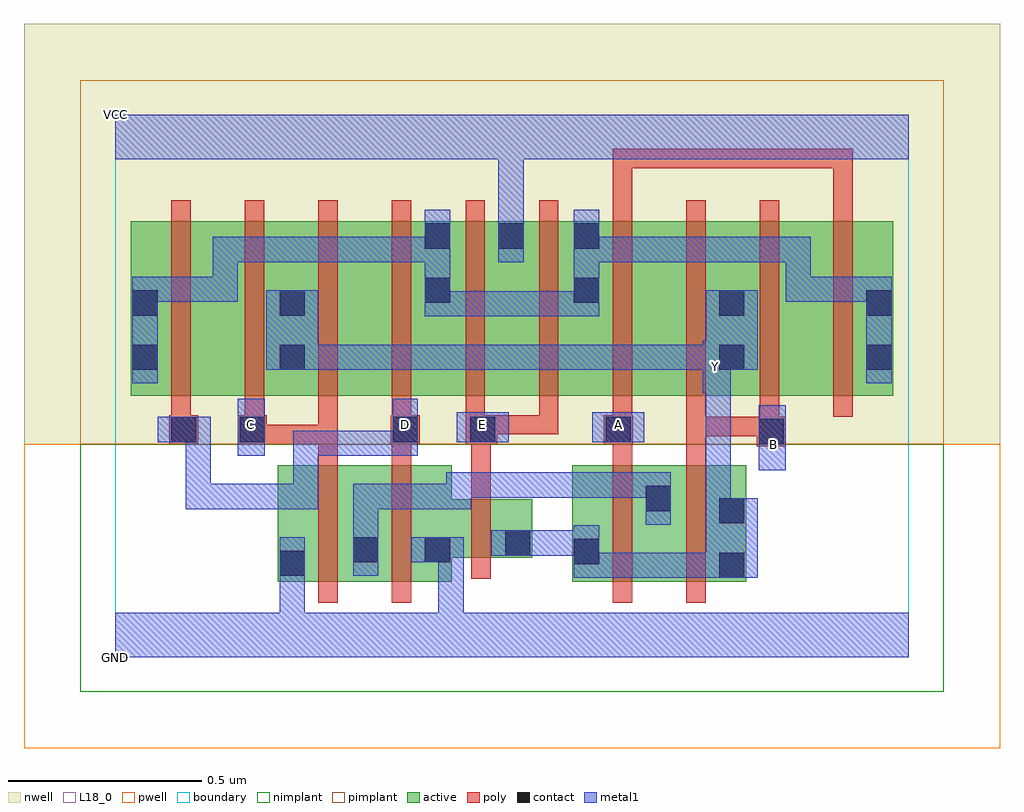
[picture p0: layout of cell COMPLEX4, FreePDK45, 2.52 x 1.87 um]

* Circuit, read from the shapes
.subckt COMPLEX4 A B C D E GND VCC Y
M1 n1 C GND VSUBS nfet w=0.3u l=0.05u
M2 GND D n1 VSUBS nfet w=0.3u l=0.05u
M3 Y E GND VSUBS nfet w=0.15u l=0.05u
M4 n1 A Y VSUBS nfet w=0.3u l=0.05u
M5 Y B n1 VSUBS nfet w=0.3u l=0.05u
M6 n2 D n3 n4 pfet w=0.45u l=0.05u
M7 Y C n2 n4 pfet w=0.45u l=0.05u
M8 n5 C Y n4 pfet w=0.45u l=0.05u
M9 n3 D n5 n4 pfet w=0.45u l=0.05u
M10 VCC E n3 n4 pfet w=0.45u l=0.05u m=2
M11 n6 A n3 n4 pfet w=0.45u l=0.05u
M12 Y B n6 n4 pfet w=0.45u l=0.05u
M13 n7 B Y n4 pfet w=0.45u l=0.05u
M14 n3 A n7 n4 pfet w=0.45u l=0.05u
.ends

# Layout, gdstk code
import gdstk
lib = gdstk.Library(unit=1e-6, precision=1e-09)
def R(c, l, rs):  # rectangles x0, y0, x1, y1
    for r in rs: c.add(gdstk.rectangle(r[:2], r[2:], *l))
def A(c, l, x, y, w, h, nx, ny, dx, dy):  # array of equal rectangles
    R(c, l, [(x+i*dx, y+j*dy, x+i*dx+w, y+j*dy+h) for i in range(nx) for j in range(ny)])
active = (1, 0)
pwell = (2, 0)
nwell = (3, 0)
nimplant = (4, 0)
pimplant = (5, 0)
poly = (9, 0)
contact = (10, 0)
metal1 = (11, 0)
L18_0 = (18, 0)
boundary = (235, 0)

complex4 = lib.new_cell('COMPLEX4')
R(complex4, active, [(0.42,0.195,0.495,0.495), (0.42,0.195,0.685,0.495), (0.61,0.195,0.87,0.495), (0.61,0.195,0.685,0.392), (0.795,0.195,0.87,0.407), (1.18,0.195,1.255,0.495), (1.18,0.195,1.44,0.495), (1.365,0.195,1.63,0.495), (1.365,0.195,1.44,0.447), (1.555,0.195,1.63,0.495), (0.795,0.257,1.077,0.407), (1.002,0.257,1.077,0.407), (0.04,0.675,0.115,1.055), (0.04,0.675,0.265,1.125), (0.265,0.675,0.495,1.125), (0.42,0.675,0.495,1.055), (0.42,0.675,0.645,1.125), (0.645,0.675,0.87,1.125), (0.795,0.675,1.06,1.125), (0.985,0.675,1.255,1.125), (1.18,0.675,1.405,1.125), (1.405,0.675,1.63,1.125), (1.555,0.675,1.63,1.055), (1.555,0.675,1.785,1.125), (1.785,0.675,2.01,1.125), (1.935,0.675,2.01,1.055), (0.795,0.722,0.87,1.125), (1.18,0.722,1.255,1.125), (0.985,0.852,1.06,1.125)])
R(complex4, pwell, [(-0.235,-0.235,2.285,0.55)])
R(complex4, nwell, [(-0.235,0.55,2.285,1.635)])
R(complex4, nimplant, [(-0.09,-0.09,2.14,0.55)])
R(complex4, pimplant, [(-0.09,0.55,2.14,1.49)])
A(complex4, poly, 0.715, 0.575, 0.05, 0.095, 4, 1, 0.19, 0)
A(complex4, poly, 0.145, 0.62, 0.05, 0.56, 10, 1, 0.19, 0)
R(complex4, poly, [(0.525,0.14,0.575,0.55), (0.715,0.14,0.765,0.55), (1.285,0.14,1.335,0.55), (1.475,0.14,1.525,0.55), (0.92,0.202,0.97,0.462), (0.92,0.412,0.97,0.6), (0.525,0.5,0.575,0.6), (0.715,0.5,0.765,0.6), (1.285,0.5,1.335,0.6), (1.475,0.5,1.525,0.62), (1.657,0.545,1.732,0.62), (0.14,0.55,0.215,0.625), (0.317,0.55,0.392,0.625), (0.342,0.55,0.575,0.6), (0.525,0.55,0.575,0.6), (0.525,0.55,0.575,0.6), (0.525,0.55,0.575,0.6), (0.525,0.55,0.575,0.67), (0.712,0.55,0.787,0.625), (0.905,0.55,0.987,0.625), (1.262,0.55,1.337,0.625), (1.475,0.57,1.525,0.62), (1.475,0.57,1.525,0.67), (1.475,0.57,1.707,0.62), (1.657,0.57,1.707,0.62), (1.657,0.57,1.707,0.62), (1.665,0.57,1.715,0.67), (0.145,0.575,0.195,0.67), (0.335,0.575,0.385,0.67), (0.937,0.575,1.145,0.625), (1.095,0.575,1.145,0.625), (1.095,0.575,1.145,0.625), (1.095,0.575,1.145,0.625), (1.285,1.13,1.335,1.312), (1.855,1.13,1.905,1.312), (1.285,1.262,1.335,1.312), (1.285,1.262,1.335,1.312), (1.285,1.262,1.335,1.312), (1.285,1.262,1.575,1.312), (1.525,1.262,1.575,1.312), (1.525,1.262,1.707,1.312), (1.657,1.262,1.707,1.312), (1.657,1.262,1.707,1.312), (1.657,1.262,1.707,1.312), (1.657,1.262,1.905,1.312), (1.855,1.262,1.905,1.312), (1.855,1.262,1.905,1.312), (1.855,1.262,1.905,1.312)])
R(complex4, contact, [(1.56,0.205,1.625,0.27), (0.425,0.21,0.49,0.275), (1.185,0.24,1.25,0.305), (0.615,0.245,0.68,0.31), (0.8,0.245,0.865,0.31), (1.007,0.262,1.072,0.327), (1.56,0.345,1.625,0.41), (1.37,0.377,1.435,0.442), (1.662,0.55,1.727,0.615), (0.145,0.555,0.21,0.62), (0.322,0.555,0.387,0.62), (0.717,0.555,0.782,0.62), (0.917,0.555,0.982,0.62), (1.267,0.555,1.332,0.62), (0.045,0.742,0.11,0.807), (0.425,0.742,0.49,0.807), (1.56,0.742,1.625,0.807), (1.94,0.742,2.005,0.807), (0.045,0.882,0.11,0.947), (0.425,0.882,0.49,0.947), (1.56,0.882,1.625,0.947), (1.94,0.882,2.005,0.947), (0.8,0.915,0.865,0.98), (1.185,0.915,1.25,0.98), (0.8,1.055,0.865,1.12), (0.99,1.055,1.055,1.12), (1.185,1.055,1.25,1.12)])
R(complex4, metal1, [(0,0,2.05,0.115), (0.425,0.05,0.49,0.24), (0.835,0.05,0.9,0.115), (0.835,0.05,0.9,0.115), (0.835,0.05,0.9,0.31), (0.425,0.175,0.49,0.24), (0.425,0.175,0.49,0.24), (0.425,0.175,0.49,0.31), (1.185,0.205,1.25,0.34), (1.185,0.205,1.387,0.27), (1.322,0.205,1.387,0.27), (1.322,0.205,1.387,0.27), (1.322,0.205,1.387,0.27), (1.322,0.205,1.59,0.27), (1.525,0.205,1.59,0.27), (1.525,0.205,1.59,0.27), (1.525,0.205,1.59,0.27), (1.525,0.205,1.59,0.27), (1.525,0.205,1.66,0.41), (0.615,0.21,0.68,0.345), (0.765,0.245,0.9,0.31), (0.972,0.262,1.107,0.327), (1.042,0.262,1.107,0.327), (1.042,0.262,1.107,0.327), (1.042,0.262,1.25,0.327), (0.615,0.28,0.68,0.345), (0.615,0.28,0.68,0.447), (1.37,0.342,1.435,0.477), (1.525,0.345,1.59,0.747), (0.182,0.382,0.247,0.447), (0.182,0.382,0.387,0.447), (0.182,0.382,0.247,0.62), (0.322,0.382,0.387,0.447), (0.322,0.382,0.525,0.447), (0.46,0.382,0.525,0.447), (0.46,0.382,0.525,0.585), (0.615,0.382,0.9,0.447), (0.835,0.382,0.9,0.447), (0.835,0.382,0.92,0.447), (0.855,0.382,0.92,0.477), (0.855,0.412,1.112,0.477), (1.047,0.412,1.112,0.477), (1.047,0.412,1.112,0.477), (1.047,0.412,1.112,0.477), (1.047,0.412,1.25,0.477), (1.185,0.412,1.25,0.477), (1.185,0.412,1.435,0.477), (1.37,0.412,1.435,0.477), (1.37,0.412,1.435,0.477), (1.662,0.482,1.732,0.65), (0.317,0.52,0.387,0.667), (0.46,0.52,0.525,0.585), (0.46,0.52,0.542,0.585), (0.477,0.52,0.542,0.585), (0.477,0.52,0.692,0.585), (0.627,0.52,0.692,0.585), (0.627,0.52,0.782,0.585), (0.717,0.52,0.782,0.667), (0.11,0.555,0.245,0.62), (0.18,0.555,0.247,0.62), (0.182,0.555,0.247,0.62), (0.882,0.555,1.017,0.632), (1.232,0.555,1.367,0.632), (1.517,0.682,1.59,0.817), (0.045,0.707,0.11,0.982), (1.94,0.707,2.005,0.982), (0.39,0.742,0.525,0.947), (0.46,0.742,0.525,0.807), (0.46,0.742,0.525,0.807), (0.46,0.742,0.68,0.807), (0.615,0.742,0.68,0.807), (0.615,0.742,0.68,0.807), (0.615,0.742,0.68,0.807), (0.615,0.742,0.9,0.807), (0.835,0.742,0.9,0.807), (0.835,0.742,0.9,0.807), (0.835,0.742,0.9,0.807), (0.835,0.742,1.112,0.807), (1.047,0.742,1.112,0.807), (1.047,0.742,1.112,0.807), (1.047,0.742,1.112,0.807), (1.047,0.742,1.25,0.807), (1.185,0.742,1.25,0.807), (1.185,0.742,1.387,0.807), (1.322,0.742,1.387,0.807), (1.322,0.742,1.387,0.807), (1.322,0.742,1.387,0.807), (1.322,0.742,1.59,0.807), (1.525,0.742,1.59,0.807), (1.525,0.742,1.59,0.807), (1.525,0.742,1.59,0.807), (1.525,0.742,1.66,0.947), (0.8,0.88,0.865,0.945), (0.8,0.88,0.865,0.945), (0.8,0.88,0.865,1.155), (0.8,0.88,1.112,0.945), (1.047,0.88,1.112,0.945), (1.047,0.88,1.112,0.945), (1.047,0.88,1.112,0.945), (1.047,0.88,1.25,0.945), (1.185,0.88,1.25,1.155), (0.045,0.917,0.11,0.982), (0.045,0.917,0.11,0.982), (0.045,0.917,0.317,0.982), (0.252,0.917,0.317,0.982), (0.252,0.917,0.317,1.085), (1.732,0.917,1.797,0.982), (1.732,0.917,2.005,0.982), (1.732,0.917,1.797,1.085), (1.94,0.917,2.005,0.982), (1.94,0.917,2.005,0.982), (0.252,1.02,0.317,1.085), (0.252,1.02,0.385,1.085), (0.32,1.02,0.385,1.085), (0.32,1.02,0.455,1.085), (0.39,1.02,0.455,1.085), (0.39,1.02,0.542,1.085), (0.477,1.02,0.542,1.085), (0.477,1.02,0.692,1.085), (0.627,1.02,0.692,1.085), (0.627,1.02,0.692,1.085), (0.627,1.02,0.692,1.085), (0.627,1.02,0.865,1.085), (0.99,1.02,1.055,1.155), (1.185,1.02,1.25,1.085), (1.185,1.02,1.25,1.085), (1.185,1.02,1.445,1.085), (1.38,1.02,1.445,1.085), (1.38,1.02,1.59,1.085), (1.525,1.02,1.59,1.085), (1.525,1.02,1.59,1.085), (1.525,1.02,1.59,1.085), (1.525,1.02,1.797,1.085), (1.732,1.02,1.797,1.085), (1.732,1.02,1.797,1.085), (1.732,1.02,1.797,1.085), (0.99,1.09,1.055,1.35), (0,1.285,2.05,1.4), (0.99,1.285,1.055,1.35), (0.99,1.285,1.055,1.35)])
R(complex4, L18_0, [(0,0,2.05,0.115), (0.425,0.05,0.49,0.24), (0.835,0.05,0.9,0.115), (0.835,0.05,0.9,0.115), (0.835,0.05,0.9,0.31), (0.425,0.175,0.49,0.24), (0.425,0.175,0.49,0.24), (0.425,0.175,0.49,0.31), (1.185,0.205,1.25,0.34), (1.185,0.205,1.387,0.27), (1.322,0.205,1.387,0.27), (1.322,0.205,1.387,0.27), (1.322,0.205,1.387,0.27), (1.322,0.205,1.59,0.27), (1.525,0.205,1.59,0.27), (1.525,0.205,1.59,0.27), (1.525,0.205,1.59,0.27), (1.525,0.205,1.59,0.27), (1.525,0.205,1.66,0.41), (0.765,0.245,0.9,0.31), (0.972,0.262,1.107,0.327), (1.042,0.262,1.107,0.327), (1.042,0.262,1.107,0.327), (1.042,0.262,1.25,0.327), (1.525,0.345,1.59,0.747), (0.182,0.382,0.247,0.447), (0.182,0.382,0.247,0.62), (0.182,0.382,0.387,0.447), (0.322,0.382,0.387,0.447), (0.322,0.382,0.525,0.447), (0.46,0.382,0.525,0.447), (0.46,0.382,0.525,0.585), (1.662,0.482,1.732,0.65), (1.667,0.517,1.732,0.582), (0.317,0.52,0.387,0.667), (0.46,0.52,0.525,0.585), (0.46,0.52,0.542,0.585), (0.477,0.52,0.542,0.585), (0.477,0.52,0.692,0.585), (0.627,0.52,0.692,0.585), (0.627,0.52,0.782,0.585), (0.717,0.52,0.782,0.667), (0.11,0.555,0.245,0.62), (0.18,0.555,0.247,0.62), (0.182,0.555,0.247,0.62), (0.882,0.555,1.017,0.632), (1.232,0.555,1.367,0.632), (0.317,0.567,0.382,0.632), (0.717,0.567,0.782,0.632), (0.917,0.567,0.982,0.632), (1.267,0.567,1.332,0.632), (1.517,0.682,1.59,0.817), (1.517,0.717,1.582,0.782), (0.39,0.742,0.525,0.947), (0.46,0.742,0.525,0.807), (0.46,0.742,0.525,0.807), (0.46,0.742,0.68,0.807), (0.615,0.742,0.68,0.807), (0.615,0.742,0.68,0.807), (0.615,0.742,0.68,0.807), (0.615,0.742,0.9,0.807), (0.835,0.742,0.9,0.807), (0.835,0.742,0.9,0.807), (0.835,0.742,0.9,0.807), (0.835,0.742,1.112,0.807), (1.047,0.742,1.112,0.807), (1.047,0.742,1.112,0.807), (1.047,0.742,1.112,0.807), (1.047,0.742,1.25,0.807), (1.185,0.742,1.25,0.807), (1.185,0.742,1.387,0.807), (1.322,0.742,1.387,0.807), (1.322,0.742,1.387,0.807), (1.322,0.742,1.387,0.807), (1.322,0.742,1.59,0.807), (1.525,0.742,1.59,0.807), (1.525,0.742,1.59,0.807), (1.525,0.742,1.59,0.807), (1.525,0.742,1.66,0.947), (0.99,1.02,1.055,1.155), (0.99,1.09,1.055,1.35), (0,1.285,2.05,1.4), (0.99,1.285,1.055,1.35), (0.99,1.285,1.055,1.35)])
R(complex4, boundary, [(0,0,2.05,1.4)])
complex4.add(gdstk.Label('A', (1.3,0.6), layer=11, texttype=0))
complex4.add(gdstk.Label('B', (1.7,0.55), layer=11, texttype=0))
complex4.add(gdstk.Label('C', (0.35,0.6), layer=11, texttype=0))
complex4.add(gdstk.Label('D', (0.75,0.6), layer=11, texttype=0))
complex4.add(gdstk.Label('E', (0.95,0.6), layer=11, texttype=0))
complex4.add(gdstk.Label('Y', (1.55,0.75), layer=11, texttype=0))
complex4.add(gdstk.Label('VCC', (0,1.4), layer=11, texttype=0))
complex4.add(gdstk.Label('GND', (0,0), layer=11, texttype=0))

lib.write_gds('COMPLEX4.gds')
